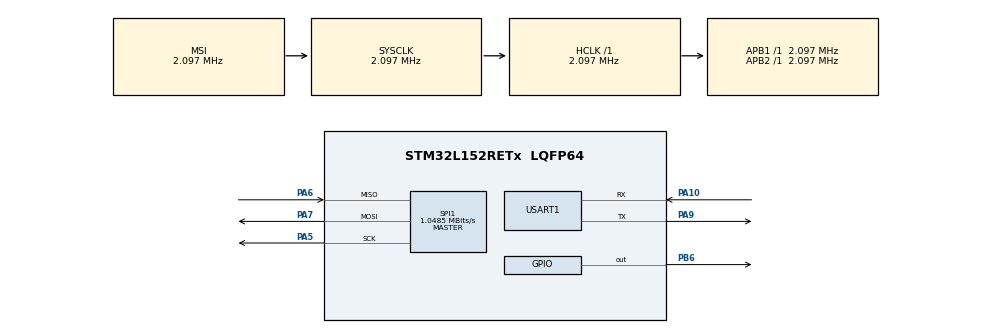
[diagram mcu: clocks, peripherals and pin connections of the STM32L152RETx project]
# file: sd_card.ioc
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FATFS._MAX_SS=4096
FATFS._USE_LFN=1
Mcu.Family=STM32L1
Mcu.Name=STM32L152RETx
Mcu.Package=LQFP64
NVIC.PriorityGroup=NVIC_PRIORITYGROUP_4
PA10.Mode=Asynchronous
PA10.Signal=USART1_RX
PA5.Mode=Full_Duplex_Master
PA5.Signal=SPI1_SCK
PA6.Mode=Full_Duplex_Master
PA6.Signal=SPI1_MISO
PA7.Mode=Full_Duplex_Master
PA7.Signal=SPI1_MOSI
PA9.Mode=Asynchronous
PA9.Signal=USART1_TX
PB6.Signal=GPIO_Output
PH0-OSC_IN.Mode=HSE-External-Oscillator
PH0-OSC_IN.Signal=RCC_OSC_IN
PH1-OSC_OUT.Mode=HSE-External-Oscillator
PH1-OSC_OUT.Signal=RCC_OSC_OUT
ProjectManager.HeapSize=0x200
ProjectManager.StackSize=0x400
ProjectManager.TargetToolchain=STM32CubeIDE
RCC.AHBFreq_Value=2097000
RCC.APB1Freq_Value=2097000
RCC.APB2Freq_Value=2097000
RCC.HSE_VALUE=24000000
RCC.HSI_VALUE=16000000
RCC.LSE_VALUE=32768
RCC.MSI_VALUE=2097000
RCC.SYSCLKFreq_VALUE=2097000
RCC.VCOOutputFreq_Value=48000000
SPI1.CalculateBaudRate=1.0485 MBits/s
SPI1.Direction=SPI_DIRECTION_2LINES
SPI1.Mode=SPI_MODE_MASTER
SPI1.VirtualType=VM_MASTER
USART1.VirtualMode=VM_ASYNC
VP_FATFS_VS_Generic.Mode=User_defined
board=custom

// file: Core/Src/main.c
/* USER CODE BEGIN Header */
/**
  ******************************************************************************
  * @file           : main.c
  * @brief          : Main program body
  ******************************************************************************
  * @attention
  *
  * Copyright (c) 2022 STMicroelectronics.
  * All rights reserved.
  *
  * This software is licensed under terms that can be found in the LICENSE file
  * in the root directory of this software component.
  * If no LICENSE file comes with this software, it is provided AS-IS.
  *
  ******************************************************************************
  */
/* USER CODE END Header */
#include "main.h"
#include "fatfs.h"

/* USER CODE BEGIN Includes */
#include <stdbool.h>
#include <stdio.h>
#include <stdlib.h>
#include <string.h>
/* USER CODE END Includes */

SPI_HandleTypeDef hspi1;

UART_HandleTypeDef huart1;

void SystemClock_Config(void);
static void MX_GPIO_Init(void);
static void MX_SPI1_Init(void);
static void MX_USART1_UART_Init(void);
/* USER CODE BEGIN PFP */
void send_uart(char *string);
void process_SD_card( void );
/* USER CODE END PFP */

void send_uart(char *string)
{
	uint8_t len=strlen(string);
	HAL_UART_Transmit(&huart1,(uint8_t *)string,len,100);
}
int main(void)
{

  /* MCU Configuration--------------------------------------------------------*/

  /* Reset of all peripherals, Initializes the Flash interface and the Systick. */
  HAL_Init();

  /* Configure the system clock */
  SystemClock_Config();

  /* Initialize all configured peripherals */
  MX_GPIO_Init();
  MX_SPI1_Init();
  MX_USART1_UART_Init();
  MX_FATFS_Init();
  /* USER CODE BEGIN 2 */
  process_SD_card();
  	   FATFS       FatFs;                //Fatfs handle
  	   FIL         fil;                  //File handle
  	   FRESULT     fres;                 //Result after operations
  	   char        buf[100];

  	   do
  	   {
  	     //Mount the SD Card
  	     fres = f_mount(&FatFs, "", 1);    //1=mount now
  	     if (fres != FR_OK)
  	     {
  	    	 send_uart("No SD Card found\n");
//  	    	HAL_UART_Transmit(&huart1,"No SD CARD found",len,100);
  	       break;
  	     }
  	     send_uart("SD Card Mounted Successfully!!!\r\n");

  	     //Read the SD Card Total size and Free Size
  	     FATFS *pfs;
  	     DWORD fre_clust;
  	     uint32_t totalSpace, freeSpace;

  	     f_getfree("", &fre_clust, &pfs);
  	     totalSpace = (uint32_t)((pfs->n_fatent - 2) * pfs->csize * 0.5);
  	     freeSpace = (uint32_t)(fre_clust * pfs->csize * 0.5);

  //	     send_uart("TotalSpace : %lu bytes, FreeSpace = %lu bytes\n");

  	     //Open the file
  	     fres = f_open(&fil, "CDAC.txt", FA_WRITE | FA_READ | FA_CREATE_ALWAYS);
  	     if(fres != FR_OK)
  	     {
  	    	 send_uart("File creation/open Error\n");
  	       break;
  	     }

  	     send_uart("Writing data!!!\r\n");
  	     //write the data
  	     f_puts("Welcome to CDAC", &fil);

  	     //close your file
  	     f_close(&fil);

  	     //Open the file
  	     fres = f_open(&fil, "CDAC.txt", FA_READ);
  	     if(fres != FR_OK)
  	     {
  	    	 send_uart("File opening Error \n");
  	       break;
  	     }

  	     //read the data
  	     f_gets(buf, sizeof(buf), &fil);

  	     send_uart("Read Data :");
  	     send_uart(buf);

  	     //close your file
  	     f_close(&fil);
  	     send_uart("Closing File!!!\r\n");
  	 #if 0
  	     //Delete the file.
  	     fres = f_unlink(CDAC.txt);
  	     if (fres != FR_OK)
  	     {
  	    	 send_uart("Cannot able to delete the file\n");
  	     }
  	 #endif
  	   } while( false );

  	   //We're done, so de-mount the drive
  	   f_mount(NULL, "", 0);
  	   send_uart("SD Card Unmounted Successfully!!!\r\n");
  /* USER CODE END 2 */

  /* Infinite loop */
  while (1)
  {

  }
}

void SystemClock_Config(void)
{
  RCC_OscInitTypeDef RCC_OscInitStruct = {0};
  RCC_ClkInitTypeDef RCC_ClkInitStruct = {0};

  /** Configure the main internal regulator output voltage
  */
  __HAL_PWR_VOLTAGESCALING_CONFIG(PWR_REGULATOR_VOLTAGE_SCALE1);

  /** Initializes the RCC Oscillators according to the specified parameters
  * in the RCC_OscInitTypeDef structure.
  */
  RCC_OscInitStruct.OscillatorType = RCC_OSCILLATORTYPE_MSI;
  RCC_OscInitStruct.MSIState = RCC_MSI_ON;
  RCC_OscInitStruct.MSICalibrationValue = 0;
  RCC_OscInitStruct.MSIClockRange = RCC_MSIRANGE_5;
  RCC_OscInitStruct.PLL.PLLState = RCC_PLL_NONE;
  if (HAL_RCC_OscConfig(&RCC_OscInitStruct) != HAL_OK)
  {
    Error_Handler();
  }

  /** Initializes the CPU, AHB and APB buses clocks
  */
  RCC_ClkInitStruct.ClockType = RCC_CLOCKTYPE_HCLK|RCC_CLOCKTYPE_SYSCLK
                              |RCC_CLOCKTYPE_PCLK1|RCC_CLOCKTYPE_PCLK2;
  RCC_ClkInitStruct.SYSCLKSource = RCC_SYSCLKSOURCE_MSI;
  RCC_ClkInitStruct.AHBCLKDivider = RCC_SYSCLK_DIV1;
  RCC_ClkInitStruct.APB1CLKDivider = RCC_HCLK_DIV1;
  RCC_ClkInitStruct.APB2CLKDivider = RCC_HCLK_DIV1;

  if (HAL_RCC_ClockConfig(&RCC_ClkInitStruct, FLASH_LATENCY_0) != HAL_OK)
  {
    Error_Handler();
  }
}

static void MX_SPI1_Init(void)
{

  /* SPI1 parameter configuration*/
  hspi1.Instance = SPI1;
  hspi1.Init.Mode = SPI_MODE_MASTER;
  hspi1.Init.Direction = SPI_DIRECTION_2LINES;
  hspi1.Init.DataSize = SPI_DATASIZE_8BIT;
  hspi1.Init.CLKPolarity = SPI_POLARITY_LOW;
  hspi1.Init.CLKPhase = SPI_PHASE_1EDGE;
  hspi1.Init.NSS = SPI_NSS_SOFT;
  hspi1.Init.BaudRatePrescaler = SPI_BAUDRATEPRESCALER_2;
  hspi1.Init.FirstBit = SPI_FIRSTBIT_MSB;
  hspi1.Init.TIMode = SPI_TIMODE_DISABLE;
  hspi1.Init.CRCCalculation = SPI_CRCCALCULATION_DISABLE;
  hspi1.Init.CRCPolynomial = 10;
  if (HAL_SPI_Init(&hspi1) != HAL_OK)
  {
    Error_Handler();
  }

}

static void MX_USART1_UART_Init(void)
{

  huart1.Instance = USART1;
  huart1.Init.BaudRate = 115200;
  huart1.Init.WordLength = UART_WORDLENGTH_8B;
  huart1.Init.StopBits = UART_STOPBITS_1;
  huart1.Init.Parity = UART_PARITY_NONE;
  huart1.Init.Mode = UART_MODE_TX_RX;
  huart1.Init.HwFlowCtl = UART_HWCONTROL_NONE;
  huart1.Init.OverSampling = UART_OVERSAMPLING_16;
  if (HAL_UART_Init(&huart1) != HAL_OK)
  {
    Error_Handler();
  }

}

static void MX_GPIO_Init(void)
{
  GPIO_InitTypeDef GPIO_InitStruct = {0};

  /* GPIO Ports Clock Enable */
  __HAL_RCC_GPIOH_CLK_ENABLE();
  __HAL_RCC_GPIOA_CLK_ENABLE();
  __HAL_RCC_GPIOB_CLK_ENABLE();

  /*Configure GPIO pin Output Level */
  HAL_GPIO_WritePin(GPIOB, GPIO_PIN_6, GPIO_PIN_RESET);

  /*Configure GPIO pin : PB6 */
  GPIO_InitStruct.Pin = GPIO_PIN_6;
  GPIO_InitStruct.Mode = GPIO_MODE_OUTPUT_PP;
  GPIO_InitStruct.Pull = GPIO_NOPULL;
  GPIO_InitStruct.Speed = GPIO_SPEED_FREQ_LOW;
  HAL_GPIO_Init(GPIOB, &GPIO_InitStruct);

}

/* USER CODE BEGIN 4 */
void process_SD_card( void )
{

}
/* USER CODE END 4 */

void Error_Handler(void)
{
  __disable_irq();
  while (1)
  {
  }
}
